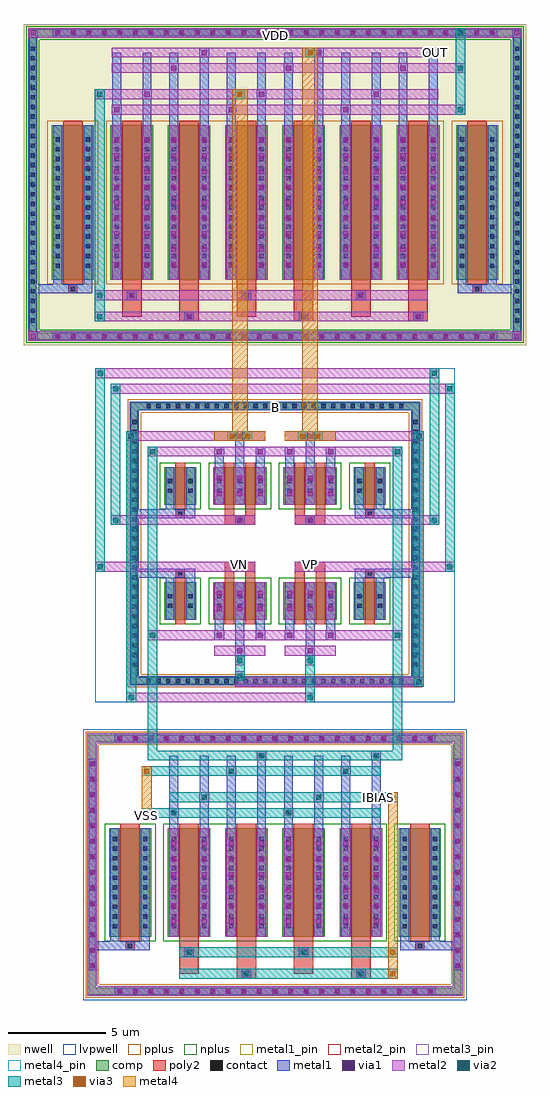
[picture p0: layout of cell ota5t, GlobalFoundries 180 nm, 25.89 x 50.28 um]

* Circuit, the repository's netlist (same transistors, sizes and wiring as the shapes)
* NGSPICE file created from ota5t.ext - technology: gf180mcuD

.subckt ota5t B VSS IBIAS VN VP VDD OUT
X0 a_n1575_3788# a_n1575_3788# VDD VDD pfet_03v3 ad=4.776p pd=17.12u as=4.776p ps=17.12u w=7.96u l=1u
X1 a_n1575_3788# VP a_n638_664# B nfet_03v3 ad=0.5404p pd=2.49u as=1.158p ps=5.06u w=1.93u l=0.5u
X2 OUT VN a_n638_664# B nfet_03v3 ad=0.5404p pd=2.49u as=1.158p ps=5.06u w=1.93u l=0.5u
X3 IBIAS IBIAS VSS B nfet_03v3 ad=3.348p pd=12.36u as=3.348p ps=12.36u w=5.58u l=1u
X4 OUT a_n1575_3788# VDD VDD pfet_03v3 ad=4.776p pd=17.12u as=4.776p ps=17.12u w=7.96u l=1u
X5 a_n1575_3788# VP a_n638_664# B nfet_03v3 ad=0.5404p pd=2.49u as=1.158p ps=5.06u w=1.93u l=0.5u
X6 a_n638_664# IBIAS VSS B nfet_03v3 ad=3.348p pd=12.36u as=3.348p ps=12.36u w=5.58u l=1u
X7 B B B B nfet_03v3 ad=1.1194p pd=5.02u as=21.9008p ps=89.44u w=1.93u l=0.5u
X8 a_n638_664# VN OUT B nfet_03v3 ad=1.158p pd=5.06u as=0.5404p ps=2.49u w=1.93u l=0.5u
X9 B B B B nfet_03v3 ad=1.1194p pd=5.02u as=0 ps=0 w=1.93u l=0.5u
X10 B B B B nfet_03v3 ad=1.1194p pd=5.02u as=0 ps=0 w=1.93u l=0.5u
X11 B B B B nfet_03v3 ad=3.2364p pd=12.32u as=0 ps=0 w=5.58u l=1u
X12 a_n638_664# VP a_n1575_3788# B nfet_03v3 ad=1.158p pd=5.06u as=0.5404p ps=2.49u w=1.93u l=0.5u
X13 a_n638_664# VP a_n1575_3788# B nfet_03v3 ad=1.158p pd=5.06u as=0.5404p ps=2.49u w=1.93u l=0.5u
X14 VDD VDD VDD VDD pfet_03v3 ad=4.6168p pd=17.08u as=47.1232p ps=0.17104m w=7.96u l=1u
X15 OUT VN a_n638_664# B nfet_03v3 ad=0.5404p pd=2.49u as=1.158p ps=5.06u w=1.93u l=0.5u
X16 a_n1575_3788# a_n1575_3788# VDD VDD pfet_03v3 ad=4.776p pd=17.12u as=4.776p ps=17.12u w=7.96u l=1u
X17 a_n638_664# VN OUT B nfet_03v3 ad=1.158p pd=5.06u as=0.5404p ps=2.49u w=1.93u l=0.5u
X18 VDD VDD VDD VDD pfet_03v3 ad=4.6168p pd=17.08u as=0 ps=0 w=7.96u l=1u
X19 OUT a_n1575_3788# VDD VDD pfet_03v3 ad=4.776p pd=17.12u as=4.776p ps=17.12u w=7.96u l=1u
X20 B B B B nfet_03v3 ad=3.2364p pd=12.32u as=0 ps=0 w=5.58u l=1u
X21 a_n638_664# IBIAS VSS B nfet_03v3 ad=3.348p pd=12.36u as=3.348p ps=12.36u w=5.58u l=1u
X22 OUT a_n1575_3788# VDD VDD pfet_03v3 ad=4.776p pd=17.12u as=4.776p ps=17.12u w=7.96u l=1u
X23 a_n1575_3788# a_n1575_3788# VDD VDD pfet_03v3 ad=4.776p pd=17.12u as=4.776p ps=17.12u w=7.96u l=1u
X24 IBIAS IBIAS VSS B nfet_03v3 ad=3.348p pd=12.36u as=3.348p ps=12.36u w=5.58u l=1u
X25 B B B B nfet_03v3 ad=1.1194p pd=5.02u as=0 ps=0 w=1.93u l=0.5u
.ends

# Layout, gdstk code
import gdstk
lib = gdstk.Library(unit=1e-6, precision=5e-09)
def R(c, l, rs):  # rectangles x0, y0, x1, y1
    for r in rs: c.add(gdstk.rectangle(r[:2], r[2:], *l))
def A(c, l, x, y, w, h, nx, ny, dx, dy):  # array of equal rectangles
    R(c, l, [(x+i*dx, y+j*dy, x+i*dx+w, y+j*dy+h) for i in range(nx) for j in range(ny)])
def P(c, l, *ps):  # polygons
    for p in ps: c.add(gdstk.Polygon(p, *l))
nwell = (21, 0)
comp = (22, 0)
poly2 = (30, 0)
pplus = (31, 0)
nplus = (32, 0)
contact = (33, 0)
metal1 = (34, 0)
metal1_pin = (34, 10)
via1 = (35, 0)
metal2 = (36, 0)
metal2_pin = (36, 10)
via2 = (38, 0)
via3 = (40, 0)
metal3 = (42, 0)
metal3_pin = (42, 10)
metal4 = (46, 0)
metal4_pin = (46, 10)
lvpwell = (204, 0)

ota5t = lib.new_cell('ota5t')
R(ota5t, nwell, [(-12.945,17.47,12.945,34.01), (-12.785,17.63,12.785,33.85), (-11.845,18.57,11.845,32.91)])
A(ota5t, comp, -8.18, -15.99, 0.36, 0.36, 21, 2, 0.8, 13.02)
A(ota5t, comp, -9.595, -14.68, 0.36, 0.36, 1, 14, 0, 0.8)
A(ota5t, comp, 9.235, -14.68, 0.36, 0.36, 1, 14, 0, 0.8)
A(ota5t, comp, -5.525, -13.01, 2.2, 5.58, 4, 1, 2.95, 0)
A(ota5t, comp, -6.68, -0.01, 0.36, 0.36, 27, 2, 0.5, 14.16)
A(ota5t, comp, -7.42, 0.82, 0.36, 0.36, 1, 26, 0, 0.5)
A(ota5t, comp, 7.06, 0.82, 0.36, 0.36, 1, 26, 0, 0.5)
A(ota5t, comp, -11.38, 17.75, 0.36, 0.36, 29, 2, 0.8, 15.62)
A(ota5t, comp, -12.665, 18.56, 0.36, 0.36, 1, 29, 0, 0.5)
A(ota5t, comp, 12.305, 18.56, 0.36, 0.36, 1, 29, 0, 0.5)
A(ota5t, comp, -8.475, 20.83, 2.2, 7.96, 6, 1, 2.95, 0)
R(ota5t, comp, [(-8.18,-15.99,8.18,-15.63), (-9.595,-14.68,-9.235,-3.92), (9.235,-14.68,9.595,-3.92), (-8.545,-13.01,-6.385,-7.43), (6.385,-13.01,8.545,-7.43), (-8.18,-2.97,8.18,-2.61), (-6.68,-0.01,6.68,0.35), (-7.42,0.82,-7.06,13.68), (7.06,0.82,7.42,13.68), (-5.71,3.32,-4.05,5.25), (-3.19,3.32,-0.43,5.25), (0.43,3.32,3.19,5.25), (4.05,3.32,5.71,5.25), (-5.71,9.25,-4.05,11.18), (-3.19,9.25,-0.43,11.18), (0.43,9.25,3.19,11.18), (4.05,9.25,5.71,11.18), (-6.68,14.15,6.68,14.51), (-11.38,17.75,11.38,18.11), (-12.665,18.56,-12.305,32.92), (12.305,18.56,12.665,32.92), (-11.495,20.83,-9.335,28.79), (9.335,20.83,11.495,28.79), (-11.38,33.37,11.38,33.73)])
P(ota5t, comp, [(7.42,14.51),(-7.42,14.51),(-7.42,0.35),(-7.06,0.35),(-7.06,14.15),(7.06,14.15),(7.06,0.35),(-7.06,0.35),(-7.42,0.35),(-7.42,-0.01),(7.42,-0.01)],
  [(9.595,-2.61),(-9.595,-2.61),(-9.595,-15.63),(-9.235,-15.63),(-9.235,-2.97),(9.235,-2.97),(9.235,-15.63),(-9.235,-15.63),(-9.595,-15.63),(-9.595,-15.99),(9.595,-15.99)],
  [(12.665,33.73),(-12.665,33.73),(-12.665,18.11),(-12.305,18.11),(-12.305,33.37),(12.305,33.37),(12.305,18.11),(-12.305,18.11),(-12.665,18.11),(-12.665,17.75),(12.665,17.75)])
A(ota5t, poly2, -4.925, -13.255, 1, 6.07, 4, 1, 2.95, 0)
A(ota5t, poly2, -4.925, 18.69, 1, 0.5, 3, 1, 5.9, 0)
A(ota5t, poly2, -4.605, 18.76, 0.36, 0.36, 3, 1, 5.9, 0)
A(ota5t, poly2, -7.875, 18.94, 1, 1.65, 3, 1, 5.9, 0)
A(ota5t, poly2, -4.925, 19.19, 1, 1.4, 3, 1, 5.9, 0)
A(ota5t, poly2, -7.875, 19.79, 1, 0.5, 3, 1, 5.9, 0)
A(ota5t, poly2, -7.555, 19.86, 0.36, 0.36, 3, 1, 5.9, 0)
A(ota5t, poly2, -7.875, 20.29, 1, 0.3, 3, 1, 5.9, 0)
A(ota5t, poly2, -7.875, 20.59, 1, 8.44, 6, 1, 2.95, 0)
R(ota5t, poly2, [(-1.975,-15.17,-0.975,-14.67), (3.925,-15.17,4.925,-14.67), (-1.655,-15.1,-1.295,-14.74), (4.245,-15.1,4.605,-14.74), (-4.925,-14.92,-3.925,-13.255), (0.975,-14.92,1.975,-13.255), (-1.975,-14.67,-0.975,-13.255), (3.925,-14.67,4.925,-13.255), (-4.925,-14.06,-3.925,-13.56), (0.975,-14.06,1.975,-13.56), (-4.605,-13.99,-4.245,-13.63), (1.295,-13.99,1.655,-13.63), (-7.695,-13.715,-7.235,-13.255), (7.235,-13.715,7.695,-13.255), (-7.645,-13.665,-7.285,-13.305), (7.285,-13.665,7.645,-13.305), (-4.925,-13.56,-3.925,-13.255), (0.975,-13.56,1.975,-13.255), (-7.965,-13.255,-6.965,-7.185), (6.965,-13.255,7.965,-7.185), (-5.13,3.08,-4.63,5.49), (-2.59,3.08,-2.09,5.49), (-1.53,3.08,-1.03,5.49), (1.03,3.08,1.53,5.49), (2.09,3.08,2.59,5.49), (4.63,3.08,5.13,5.49), (-5.11,5.49,-4.65,5.95), (-2.59,5.49,-2.09,5.795), (-1.53,5.49,-1.03,5.795), (1.03,5.49,1.53,5.795), (2.09,5.49,2.59,5.795), (4.65,5.49,5.11,5.95), (-5.06,5.54,-4.7,5.9), (4.7,5.54,5.06,5.9), (-2.59,5.795,-1.03,6.295), (1.03,5.795,2.59,6.295), (-1.99,5.865,-1.63,6.225), (1.63,5.865,1.99,6.225), (-2.59,8.205,-1.03,8.705), (1.03,8.205,2.59,8.705), (-1.99,8.275,-1.63,8.635), (1.63,8.275,1.99,8.635), (-5.11,8.55,-4.65,9.01), (4.65,8.55,5.11,9.01), (-5.06,8.6,-4.7,8.96), (4.7,8.6,5.06,8.96), (-2.59,8.705,-2.09,9.01), (-1.53,8.705,-1.03,9.01), (1.03,8.705,1.53,9.01), (2.09,8.705,2.59,9.01), (-5.13,9.01,-4.63,11.42), (-2.59,9.01,-2.09,11.42), (-1.53,9.01,-1.03,11.42), (1.03,9.01,1.53,11.42), (2.09,9.01,2.59,11.42), (4.63,9.01,5.13,11.42), (-10.645,20.13,-10.185,20.59), (10.185,20.13,10.645,20.59), (-10.595,20.18,-10.235,20.54), (10.235,20.18,10.595,20.54), (-10.915,20.59,-9.915,29.03), (9.915,20.59,10.915,29.03)])
A(ota5t, pplus, -8.705, 20.6, 2.66, 8.42, 6, 1, 2.95, 0)
R(ota5t, pplus, [(-11.725,20.6,-9.105,29.02), (-8.705,20.6,8.705,29.02), (9.105,20.6,11.725,29.02)])
P(ota5t, pplus, [(7.58,14.67),(-7.58,14.67),(-7.58,0.51),(-6.9,0.51),(-6.9,13.99),(6.9,13.99),(6.9,0.51),(-6.9,0.51),(-7.58,0.51),(-7.58,-0.17),(7.58,-0.17)],
  [(9.755,-2.45),(-9.755,-2.45),(-9.755,-15.47),(-9.075,-15.47),(-9.075,-3.13),(9.075,-3.13),(9.075,-15.47),(-9.075,-15.47),(-9.755,-15.47),(-9.755,-16.15),(9.755,-16.15)])
A(ota5t, nplus, -5.755, -13.24, 2.66, 6.04, 4, 1, 2.95, 0)
R(ota5t, nplus, [(-8.775,-13.24,-6.155,-7.2), (-5.755,-13.24,5.755,-7.2), (6.155,-13.24,8.775,-7.2), (-5.94,3.09,-3.82,5.48), (-3.42,3.09,-0.2,5.48), (0.2,3.09,3.42,5.48), (3.82,3.09,5.94,5.48), (-5.94,9.02,-3.82,11.41), (-3.42,9.02,-0.2,11.41), (0.2,9.02,3.42,11.41), (3.82,9.02,5.94,11.41)])
P(ota5t, nplus, [(12.825,33.89),(-12.825,33.89),(-12.825,18.27),(-12.145,18.27),(-12.145,33.21),(12.145,33.21),(12.145,18.27),(-12.145,18.27),(-12.825,18.27),(-12.825,17.59),(12.825,17.59)])
A(ota5t, contact, -8.11, -15.92, 0.22, 0.22, 21, 2, 0.8, 13.02)
A(ota5t, contact, -9.525, -14.61, 0.22, 0.22, 1, 14, 0, 0.8)
A(ota5t, contact, 9.305, -14.61, 0.22, 0.22, 1, 14, 0, 0.8)
A(ota5t, contact, -8.355, -12.58, 0.22, 0.22, 1, 10, 0, 0.5)
A(ota5t, contact, -6.795, -12.58, 0.22, 0.22, 1, 10, 0, 0.5)
A(ota5t, contact, -5.315, -12.58, 0.22, 0.22, 1, 10, 0, 0.5)
A(ota5t, contact, -3.755, -12.58, 0.22, 0.22, 1, 10, 0, 0.5)
A(ota5t, contact, -2.365, -12.58, 0.22, 0.22, 1, 10, 0, 0.5)
A(ota5t, contact, -0.805, -12.58, 0.22, 0.22, 1, 10, 0, 0.5)
A(ota5t, contact, 0.585, -12.58, 0.22, 0.22, 1, 10, 0, 0.5)
A(ota5t, contact, 2.145, -12.58, 0.22, 0.22, 1, 10, 0, 0.5)
A(ota5t, contact, 3.535, -12.58, 0.22, 0.22, 1, 10, 0, 0.5)
A(ota5t, contact, 5.095, -12.58, 0.22, 0.22, 1, 10, 0, 0.5)
A(ota5t, contact, 6.575, -12.58, 0.22, 0.22, 1, 10, 0, 0.5)
A(ota5t, contact, 8.135, -12.58, 0.22, 0.22, 1, 10, 0, 0.5)
A(ota5t, contact, -6.61, 0.06, 0.22, 0.22, 27, 2, 0.5, 14.16)
A(ota5t, contact, -7.35, 0.89, 0.22, 0.22, 1, 26, 0, 0.5)
A(ota5t, contact, 7.13, 0.89, 0.22, 0.22, 1, 26, 0, 0.5)
A(ota5t, contact, -2.98, 3.925, 0.22, 0.22, 3, 2, 1.06, 0.5)
A(ota5t, contact, 0.64, 3.925, 0.22, 0.22, 3, 2, 1.06, 0.5)
A(ota5t, contact, -2.98, 9.855, 0.22, 0.22, 3, 2, 1.06, 0.5)
A(ota5t, contact, 0.64, 9.855, 0.22, 0.22, 3, 2, 1.06, 0.5)
A(ota5t, contact, -11.31, 17.82, 0.22, 0.22, 29, 2, 0.8, 15.62)
A(ota5t, contact, -12.595, 18.63, 0.22, 0.22, 1, 29, 0, 0.5)
A(ota5t, contact, 12.375, 18.63, 0.22, 0.22, 1, 29, 0, 0.5)
A(ota5t, contact, -4.535, 18.83, 0.22, 0.22, 3, 1, 5.9, 0)
A(ota5t, contact, -7.485, 19.93, 0.22, 0.22, 3, 1, 5.9, 0)
A(ota5t, contact, -11.305, 21.45, 0.22, 0.22, 1, 14, 0, 0.5)
A(ota5t, contact, -9.745, 21.45, 0.22, 0.22, 1, 14, 0, 0.5)
A(ota5t, contact, -8.265, 21.45, 0.22, 0.22, 1, 14, 0, 0.5)
A(ota5t, contact, -6.705, 21.45, 0.22, 0.22, 1, 14, 0, 0.5)
A(ota5t, contact, -5.315, 21.45, 0.22, 0.22, 1, 14, 0, 0.5)
A(ota5t, contact, -3.755, 21.45, 0.22, 0.22, 1, 14, 0, 0.5)
A(ota5t, contact, -2.365, 21.45, 0.22, 0.22, 1, 14, 0, 0.5)
A(ota5t, contact, -0.805, 21.45, 0.22, 0.22, 1, 14, 0, 0.5)
A(ota5t, contact, 0.585, 21.45, 0.22, 0.22, 1, 14, 0, 0.5)
A(ota5t, contact, 2.145, 21.45, 0.22, 0.22, 1, 14, 0, 0.5)
A(ota5t, contact, 3.535, 21.45, 0.22, 0.22, 1, 14, 0, 0.5)
A(ota5t, contact, 5.095, 21.45, 0.22, 0.22, 1, 14, 0, 0.5)
A(ota5t, contact, 6.485, 21.45, 0.22, 0.22, 1, 14, 0, 0.5)
A(ota5t, contact, 8.045, 21.45, 0.22, 0.22, 1, 14, 0, 0.5)
A(ota5t, contact, 9.525, 21.45, 0.22, 0.22, 1, 14, 0, 0.5)
A(ota5t, contact, 11.085, 21.45, 0.22, 0.22, 1, 14, 0, 0.5)
R(ota5t, contact, [(-1.585,-15.03,-1.365,-14.81), (4.315,-15.03,4.535,-14.81), (-4.535,-13.92,-4.315,-13.7), (1.365,-13.92,1.585,-13.7), (-7.575,-13.595,-7.355,-13.375), (7.355,-13.595,7.575,-13.375), (-5.52,3.925,-5.3,4.145), (-4.46,3.925,-4.24,4.145), (4.24,3.925,4.46,4.145), (5.3,3.925,5.52,4.145), (-5.52,4.425,-5.3,4.645), (-4.46,4.425,-4.24,4.645), (4.24,4.425,4.46,4.645), (5.3,4.425,5.52,4.645), (-4.99,5.61,-4.77,5.83), (4.77,5.61,4.99,5.83), (-1.92,5.935,-1.7,6.155), (1.7,5.935,1.92,6.155), (-1.92,8.345,-1.7,8.565), (1.7,8.345,1.92,8.565), (-4.99,8.67,-4.77,8.89), (4.77,8.67,4.99,8.89), (-5.52,9.855,-5.3,10.075), (-4.46,9.855,-4.24,10.075), (4.24,9.855,4.46,10.075), (5.3,9.855,5.52,10.075), (-5.52,10.355,-5.3,10.575), (-4.46,10.355,-4.24,10.575), (4.24,10.355,4.46,10.575), (5.3,10.355,5.52,10.575), (-10.525,20.25,-10.305,20.47), (10.305,20.25,10.525,20.47)])
A(ota5t, metal1, -8.25, -16.06, 0.5, 0.5, 21, 2, 0.8, 13.02)
A(ota5t, metal1, -9.665, -14.75, 0.5, 0.5, 1, 14, 0, 0.8)
A(ota5t, metal1, 9.165, -14.75, 0.5, 0.5, 1, 14, 0, 0.8)
A(ota5t, metal1, -8.475, -12.7, 0.46, 0.46, 1, 10, 0, 0.5)
A(ota5t, metal1, -6.915, -12.7, 0.46, 0.46, 1, 10, 0, 0.5)
A(ota5t, metal1, -5.435, -12.7, 0.46, 0.46, 1, 10, 0, 0.5)
A(ota5t, metal1, -3.875, -12.7, 0.46, 0.46, 1, 10, 0, 0.5)
A(ota5t, metal1, -2.485, -12.7, 0.46, 0.46, 1, 10, 0, 0.5)
A(ota5t, metal1, -0.925, -12.7, 0.46, 0.46, 1, 10, 0, 0.5)
A(ota5t, metal1, 0.465, -12.7, 0.46, 0.46, 1, 10, 0, 0.5)
A(ota5t, metal1, 2.025, -12.7, 0.46, 0.46, 1, 10, 0, 0.5)
A(ota5t, metal1, 3.415, -12.7, 0.46, 0.46, 1, 10, 0, 0.5)
A(ota5t, metal1, 4.975, -12.7, 0.46, 0.46, 1, 10, 0, 0.5)
A(ota5t, metal1, 6.455, -12.7, 0.46, 0.46, 1, 10, 0, 0.5)
A(ota5t, metal1, 8.015, -12.7, 0.46, 0.46, 1, 10, 0, 0.5)
A(ota5t, metal1, -5.455, -12.47, 0.5, 0.5, 1, 6, 0, 0.8)
A(ota5t, metal1, -3.895, -12.47, 0.5, 0.5, 1, 6, 0, 0.8)
A(ota5t, metal1, -2.505, -12.47, 0.5, 0.5, 1, 6, 0, 0.8)
A(ota5t, metal1, -0.945, -12.47, 0.5, 0.5, 1, 6, 0, 0.8)
A(ota5t, metal1, 0.445, -12.47, 0.5, 0.5, 1, 6, 0, 0.8)
A(ota5t, metal1, 2.005, -12.47, 0.5, 0.5, 1, 6, 0, 0.8)
A(ota5t, metal1, 3.395, -12.47, 0.5, 0.5, 1, 6, 0, 0.8)
A(ota5t, metal1, 4.955, -12.47, 0.5, 0.5, 1, 6, 0, 0.8)
A(ota5t, metal1, -6.73, -0.06, 0.46, 0.46, 27, 2, 0.5, 14.16)
A(ota5t, metal1, -7.47, 0.77, 0.46, 0.46, 1, 26, 0, 0.5)
A(ota5t, metal1, 7.01, 0.77, 0.46, 0.46, 1, 26, 0, 0.5)
A(ota5t, metal1, -3.1, 3.32, 0.46, 1.93, 3, 2, 1.06, 5.93)
A(ota5t, metal1, 0.52, 3.32, 0.46, 1.93, 3, 2, 1.06, 5.93)
A(ota5t, metal1, -3.12, 3.635, 0.5, 0.5, 3, 2, 1.06, 0.8)
A(ota5t, metal1, -3.12, 3.635, 0.5, 1.3, 3, 2, 1.06, 5.93)
A(ota5t, metal1, 0.5, 3.635, 0.5, 0.5, 3, 2, 1.06, 0.8)
A(ota5t, metal1, 0.5, 3.635, 0.5, 1.3, 3, 2, 1.06, 5.93)
A(ota5t, metal1, -3.1, 3.805, 0.46, 0.46, 3, 2, 1.06, 0.5)
A(ota5t, metal1, 0.52, 3.805, 0.46, 0.46, 3, 2, 1.06, 0.5)
A(ota5t, metal1, -3.12, 9.565, 0.5, 0.5, 3, 2, 1.06, 0.8)
A(ota5t, metal1, 0.5, 9.565, 0.5, 0.5, 3, 2, 1.06, 0.8)
A(ota5t, metal1, -3.1, 9.735, 0.46, 0.46, 3, 2, 1.06, 0.5)
A(ota5t, metal1, 0.52, 9.735, 0.46, 0.46, 3, 2, 1.06, 0.5)
A(ota5t, metal1, -11.45, 17.68, 0.5, 0.5, 29, 2, 0.8, 15.62)
A(ota5t, metal1, -12.715, 18.51, 0.46, 0.46, 1, 29, 0, 0.5)
A(ota5t, metal1, 12.255, 18.51, 0.46, 0.46, 1, 29, 0, 0.5)
A(ota5t, metal1, -4.675, 18.69, 0.5, 0.5, 3, 1, 5.9, 0)
A(ota5t, metal1, -7.625, 19.79, 0.5, 0.5, 3, 1, 5.9, 0)
A(ota5t, metal1, -11.425, 21.33, 0.46, 0.46, 1, 14, 0, 0.5)
A(ota5t, metal1, -9.865, 21.33, 0.46, 0.46, 1, 14, 0, 0.5)
A(ota5t, metal1, -8.385, 21.33, 0.46, 0.46, 1, 14, 0, 0.5)
A(ota5t, metal1, -6.825, 21.33, 0.46, 0.46, 1, 14, 0, 0.5)
A(ota5t, metal1, -5.435, 21.33, 0.46, 0.46, 1, 14, 0, 0.5)
A(ota5t, metal1, -3.875, 21.33, 0.46, 0.46, 1, 14, 0, 0.5)
A(ota5t, metal1, -2.485, 21.33, 0.46, 0.46, 1, 14, 0, 0.5)
A(ota5t, metal1, -0.925, 21.33, 0.46, 0.46, 1, 14, 0, 0.5)
A(ota5t, metal1, 0.465, 21.33, 0.46, 0.46, 1, 14, 0, 0.5)
A(ota5t, metal1, 2.025, 21.33, 0.46, 0.46, 1, 14, 0, 0.5)
A(ota5t, metal1, 3.415, 21.33, 0.46, 0.46, 1, 14, 0, 0.5)
A(ota5t, metal1, 4.975, 21.33, 0.46, 0.46, 1, 14, 0, 0.5)
A(ota5t, metal1, 6.365, 21.33, 0.46, 0.46, 1, 14, 0, 0.5)
A(ota5t, metal1, 7.925, 21.33, 0.46, 0.46, 1, 14, 0, 0.5)
A(ota5t, metal1, 9.405, 21.33, 0.46, 0.46, 1, 14, 0, 0.5)
A(ota5t, metal1, 10.965, 21.33, 0.46, 0.46, 1, 14, 0, 0.5)
A(ota5t, metal1, -8.405, 21.36, 0.5, 0.5, 1, 9, 0, 0.8)
A(ota5t, metal1, -6.845, 21.36, 0.5, 0.5, 1, 9, 0, 0.8)
A(ota5t, metal1, -5.455, 21.36, 0.5, 0.5, 1, 9, 0, 0.8)
A(ota5t, metal1, -3.895, 21.36, 0.5, 0.5, 1, 9, 0, 0.8)
A(ota5t, metal1, -2.505, 21.36, 0.5, 0.5, 1, 9, 0, 0.8)
A(ota5t, metal1, -0.945, 21.36, 0.5, 0.5, 1, 9, 0, 0.8)
A(ota5t, metal1, 0.445, 21.36, 0.5, 0.5, 1, 9, 0, 0.8)
A(ota5t, metal1, 2.005, 21.36, 0.5, 0.5, 1, 9, 0, 0.8)
A(ota5t, metal1, 3.395, 21.36, 0.5, 0.5, 1, 9, 0, 0.8)
A(ota5t, metal1, 4.955, 21.36, 0.5, 0.5, 1, 9, 0, 0.8)
A(ota5t, metal1, 6.345, 21.36, 0.5, 0.5, 1, 9, 0, 0.8)
A(ota5t, metal1, 7.905, 21.36, 0.5, 0.5, 1, 9, 0, 0.8)
A(ota5t, metal1, -8.385, 28.79, 0.46, 1.05, 3, 1, 5.9, 0)
A(ota5t, metal1, -6.825, 28.79, 0.46, 1.85, 3, 1, 5.9, 0)
A(ota5t, metal1, -5.435, 28.79, 0.46, 3.2, 3, 1, 5.9, 0)
A(ota5t, metal1, -3.875, 28.79, 0.46, 4, 3, 1, 5.9, 0)
A(ota5t, metal1, -8.405, 29.34, 0.5, 0.5, 3, 1, 5.9, 0)
A(ota5t, metal1, -6.845, 30.14, 0.5, 0.5, 3, 1, 5.9, 0)
A(ota5t, metal1, -5.455, 31.49, 0.5, 0.5, 3, 1, 5.9, 0)
A(ota5t, metal1, -3.895, 32.29, 0.5, 0.5, 3, 1, 5.9, 0)
R(ota5t, metal1, [(-8.25,-16.06,8.25,-15.56), (-1.725,-15.17,-1.225,-14.67), (4.175,-15.17,4.675,-14.67), (-9.665,-14.75,-9.165,-3.85), (9.165,-14.75,9.665,-3.85), (-4.675,-14.06,-4.175,-13.56), (1.225,-14.06,1.725,-13.56), (-9.665,-13.715,-7.695,-13.255), (-8.475,-13.715,-7.695,-13.255), (-8.475,-13.715,-8.015,-13.01), (-7.695,-13.715,-7.235,-13.255), (-7.235,-13.715,-6.455,-13.255), (-6.915,-13.715,-6.455,-13.01), (6.455,-13.715,7.235,-13.255), (6.455,-13.715,6.915,-13.01), (7.235,-13.715,7.695,-13.255), (7.695,-13.715,8.475,-13.255), (7.695,-13.715,9.665,-13.255), (8.015,-13.715,8.475,-13.01), (-8.475,-13.01,-8.015,-7.43), (-6.915,-13.01,-6.455,-7.43), (-5.435,-13.01,-4.975,-7.43), (-3.875,-13.01,-3.415,-7.43), (-2.485,-13.01,-2.025,-7.43), (-0.925,-13.01,-0.465,-7.43), (0.465,-13.01,0.925,-7.43), (2.025,-13.01,2.485,-7.43), (3.415,-13.01,3.875,-7.43), (4.975,-13.01,5.435,-7.43), (6.455,-13.01,6.915,-7.43), (8.015,-13.01,8.475,-7.43), (-5.455,-12.47,-4.955,-7.97), (-3.895,-12.47,-3.395,-7.97), (-2.505,-12.47,-2.005,-7.97), (-0.945,-12.47,-0.445,-7.97), (0.445,-12.47,0.945,-7.97), (2.005,-12.47,2.505,-7.97), (3.395,-12.47,3.895,-7.97), (4.955,-12.47,5.455,-7.97), (-5.435,-7.43,-4.975,-6.38), (-5.435,-7.43,-4.975,-3.68), (-3.875,-7.43,-3.415,-5.58), (-3.875,-7.43,-3.415,-3.68), (-2.485,-7.43,-2.025,-4.23), (-2.485,-7.43,-2.025,-3.68), (-0.925,-7.43,-0.465,-3.43), (-0.925,-7.43,-0.465,-3.68), (0.465,-7.43,0.925,-6.38), (0.465,-7.43,0.925,-3.68), (2.025,-7.43,2.485,-5.58), (2.025,-7.43,2.485,-3.68), (3.415,-7.43,3.875,-4.23), (3.415,-7.43,3.875,-3.68), (4.975,-7.43,5.435,-3.43), (4.975,-7.43,5.435,-3.68), (-5.455,-6.88,-4.955,-6.38), (0.445,-6.88,0.945,-6.38), (-3.895,-6.08,-3.395,-5.58), (2.005,-6.08,2.505,-5.58), (-2.505,-4.73,-2.005,-4.23), (3.395,-4.73,3.895,-4.23), (-0.945,-3.93,-0.445,-3.43), (4.955,-3.93,5.455,-3.43), (-8.25,-3.04,8.25,-2.54), (-7.47,-0.06,-7.06,0.4), (-7.47,-0.06,-7.01,0.35), (-7.06,-0.06,7.06,0.4), (7.01,-0.06,7.47,0.35), (7.06,-0.06,7.47,0.4), (-7.47,0.35,-7.01,14.15), (7.01,0.35,7.47,14.15), (-2.06,1.47,-1.56,1.97), (-2.04,1.47,-1.58,3.32), (1.56,1.47,2.06,1.97), (1.58,1.47,2.04,3.32), (-3.12,2.27,-2.62,2.77), (-3.1,2.27,-2.64,3.32), (-1,2.27,-0.5,2.77), (-0.98,2.27,-0.52,3.32), (0.5,2.27,1,2.77), (0.52,2.27,0.98,3.32), (2.62,2.27,3.12,2.77), (2.64,2.27,3.1,3.32), (-5.64,3.32,-5.18,5.25), (-4.58,3.32,-4.12,5.25), (4.12,3.32,4.58,5.25), (5.18,3.32,5.64,5.25), (-5.64,3.805,-5.18,4.265), (-4.58,3.805,-4.12,4.265), (4.12,3.805,4.58,4.265), (5.18,3.805,5.64,4.265), (-5.64,4.305,-5.18,4.765), (-4.58,4.305,-4.12,4.765), (4.12,4.305,4.58,4.765), (5.18,4.305,5.64,4.765), (-5.64,5.25,-5.18,5.95), (-4.58,5.25,-4.12,5.95), (4.12,5.25,4.58,5.95), (5.18,5.25,5.64,5.95), (-7.47,5.49,-5.11,5.95), (-5.64,5.49,-5.11,5.95), (-5.11,5.49,-4.65,5.95), (-4.65,5.49,-4.12,5.95), (4.12,5.49,4.65,5.95), (4.65,5.49,5.11,5.95), (4.65,5.49,7.47,5.95), (5.11,5.49,5.64,5.95), (-2.06,5.795,-1.56,6.295), (1.56,5.795,2.06,6.295), (-2.06,8.205,-1.56,8.705), (1.56,8.205,2.06,8.705), (-7.47,8.55,-5.11,9.01), (-5.64,8.55,-5.11,9.01), (-5.64,8.55,-5.18,9.25), (-5.11,8.55,-4.65,9.01), (-4.65,8.55,-4.12,9.01), (-4.58,8.55,-4.12,9.25), (4.12,8.55,4.65,9.01), (4.12,8.55,4.58,9.25), (4.65,8.55,5.11,9.01), (4.65,8.55,7.47,9.01), (5.11,8.55,5.64,9.01), (5.18,8.55,5.64,9.25), (-5.64,9.25,-5.18,11.18), (-4.58,9.25,-4.12,11.18), (4.12,9.25,4.58,11.18), (5.18,9.25,5.64,11.18), (-5.64,9.735,-5.18,10.195), (-4.58,9.735,-4.12,10.195), (4.12,9.735,4.58,10.195), (5.18,9.735,5.64,10.195), (-5.64,10.235,-5.18,10.695), (-4.58,10.235,-4.12,10.695), (4.12,10.235,4.58,10.695), (5.18,10.235,5.64,10.695), (-3.1,11.18,-2.64,12.23), (-2.04,11.18,-1.58,13.03), (-0.98,11.18,-0.52,12.23), (0.52,11.18,0.98,12.23), (1.58,11.18,2.04,13.03), (2.64,11.18,3.1,12.23), (-3.12,11.73,-2.62,12.23), (-1,11.73,-0.5,12.23), (0.5,11.73,1,12.23), (2.62,11.73,3.12,12.23), (-2.06,12.53,-1.56,13.03), (1.56,12.53,2.06,13.03), (-7.47,14.1,-7.06,14.56), (-7.06,14.1,7.06,14.56), (7.06,14.1,7.47,14.56), (-7.47,14.15,-7.01,14.56), (7.01,14.15,7.47,14.56), (-12.715,17.68,-12.215,18.18), (-12.715,17.68,-12.215,18.18), (-12.715,17.68,-12.255,18.11), (-11.45,17.68,11.45,18.18), (12.215,17.68,12.715,18.18), (12.215,17.68,12.715,18.18), (12.255,17.68,12.715,18.11), (-12.715,18.11,-12.255,33.37), (12.255,18.11,12.715,33.37), (-12.715,20.13,-10.645,20.59), (-11.425,20.13,-10.965,20.83), (-11.425,20.13,-10.645,20.59), (-10.645,20.13,-10.185,20.59), (-10.185,20.13,-9.405,20.59), (-9.865,20.13,-9.405,20.83), (9.405,20.13,9.865,20.83), (9.405,20.13,10.185,20.59), (10.185,20.13,10.645,20.59), (10.645,20.13,11.425,20.59), (10.645,20.13,12.715,20.59), (10.965,20.13,11.425,20.83), (-11.425,20.83,-10.965,28.79), (-9.865,20.83,-9.405,28.79), (-8.385,20.83,-7.925,28.79), (-6.825,20.83,-6.365,28.79), (-5.435,20.83,-4.975,28.79), (-3.875,20.83,-3.415,28.79), (-2.485,20.83,-2.025,28.79), (-0.925,20.83,-0.465,28.79), (0.465,20.83,0.925,28.79), (2.025,20.83,2.485,28.79), (3.415,20.83,3.875,28.79), (4.975,20.83,5.435,28.79), (6.365,20.83,6.825,28.79), (7.925,20.83,8.385,28.79), (9.405,20.83,9.865,28.79), (10.965,20.83,11.425,28.79), (-8.405,21.36,-7.905,28.26), (-6.845,21.36,-6.345,28.26), (-5.455,21.36,-4.955,28.26), (-3.895,21.36,-3.395,28.26), (-2.505,21.36,-2.005,28.26), (-0.945,21.36,-0.445,28.26), (0.445,21.36,0.945,28.26), (2.005,21.36,2.505,28.26), (3.395,21.36,3.895,28.26), (4.955,21.36,5.455,28.26), (6.345,21.36,6.845,28.26), (7.905,21.36,8.405,28.26), (-8.385,28.79,-7.925,32.54), (-6.825,28.79,-6.365,32.54), (-5.435,28.79,-4.975,32.54), (-3.875,28.79,-3.415,32.54), (-2.485,28.79,-2.025,32.54), (-0.925,28.79,-0.465,32.54), (0.465,28.79,0.925,32.54), (2.025,28.79,2.485,32.54), (3.415,28.79,3.875,32.54), (4.975,28.79,5.435,32.54), (6.365,28.79,6.825,32.54), (7.925,28.79,8.385,32.54), (-12.715,33.3,-12.215,33.8), (-12.715,33.3,-12.215,33.8), (-11.45,33.3,11.45,33.8), (12.215,33.3,12.715,33.8), (12.215,33.3,12.715,33.8), (-12.715,33.37,-12.255,33.8), (12.255,33.37,12.715,33.8)])
R(ota5t, metal1_pin, [(-0.135,14.1,0.135,14.37), (-0.135,14.1,0.135,14.37)])
A(ota5t, via1, -8.13, -15.94, 0.26, 0.26, 21, 2, 0.8, 13.02)
A(ota5t, via1, -9.545, -14.63, 0.26, 0.26, 1, 14, 0, 0.8)
A(ota5t, via1, 9.285, -14.63, 0.26, 0.26, 1, 14, 0, 0.8)
A(ota5t, via1, -5.335, -12.35, 0.26, 0.26, 1, 6, 0, 0.8)
A(ota5t, via1, -3.775, -12.35, 0.26, 0.26, 1, 6, 0, 0.8)
A(ota5t, via1, -2.385, -12.35, 0.26, 0.26, 1, 6, 0, 0.8)
A(ota5t, via1, -0.825, -12.35, 0.26, 0.26, 1, 6, 0, 0.8)
A(ota5t, via1, 0.565, -12.35, 0.26, 0.26, 1, 6, 0, 0.8)
A(ota5t, via1, 2.125, -12.35, 0.26, 0.26, 1, 6, 0, 0.8)
A(ota5t, via1, 3.515, -12.35, 0.26, 0.26, 1, 6, 0, 0.8)
A(ota5t, via1, 5.075, -12.35, 0.26, 0.26, 1, 6, 0, 0.8)
A(ota5t, via1, -3, 3.755, 0.26, 0.26, 3, 2, 1.06, 0.8)
A(ota5t, via1, 0.62, 3.755, 0.26, 0.26, 3, 2, 1.06, 0.8)
A(ota5t, via1, -3, 9.685, 0.26, 0.26, 3, 2, 1.06, 0.8)
A(ota5t, via1, 0.62, 9.685, 0.26, 0.26, 3, 2, 1.06, 0.8)
A(ota5t, via1, -11.33, 17.8, 0.26, 0.26, 29, 2, 0.8, 15.62)
A(ota5t, via1, -4.555, 18.81, 0.26, 0.26, 3, 1, 5.9, 0)
A(ota5t, via1, -7.505, 19.91, 0.26, 0.26, 3, 1, 5.9, 0)
A(ota5t, via1, -8.285, 21.48, 0.26, 0.26, 1, 9, 0, 0.8)
A(ota5t, via1, -6.725, 21.48, 0.26, 0.26, 1, 9, 0, 0.8)
A(ota5t, via1, -5.335, 21.48, 0.26, 0.26, 1, 9, 0, 0.8)
A(ota5t, via1, -3.775, 21.48, 0.26, 0.26, 1, 9, 0, 0.8)
A(ota5t, via1, -2.385, 21.48, 0.26, 0.26, 1, 9, 0, 0.8)
A(ota5t, via1, -0.825, 21.48, 0.26, 0.26, 1, 9, 0, 0.8)
A(ota5t, via1, 0.565, 21.48, 0.26, 0.26, 1, 9, 0, 0.8)
A(ota5t, via1, 2.125, 21.48, 0.26, 0.26, 1, 9, 0, 0.8)
A(ota5t, via1, 3.515, 21.48, 0.26, 0.26, 1, 9, 0, 0.8)
A(ota5t, via1, 5.075, 21.48, 0.26, 0.26, 1, 9, 0, 0.8)
A(ota5t, via1, 6.465, 21.48, 0.26, 0.26, 1, 9, 0, 0.8)
A(ota5t, via1, 8.025, 21.48, 0.26, 0.26, 1, 9, 0, 0.8)
A(ota5t, via1, -8.285, 29.46, 0.26, 0.26, 3, 1, 5.9, 0)
A(ota5t, via1, -6.725, 30.26, 0.26, 0.26, 3, 1, 5.9, 0)
A(ota5t, via1, -5.335, 31.61, 0.26, 0.26, 3, 1, 5.9, 0)
A(ota5t, via1, -3.775, 32.41, 0.26, 0.26, 3, 1, 5.9, 0)
R(ota5t, via1, [(-1.605,-15.05,-1.345,-14.79), (4.295,-15.05,4.555,-14.79), (-4.555,-13.94,-4.295,-13.68), (1.345,-13.94,1.605,-13.68), (-5.335,-6.76,-5.075,-6.5), (0.565,-6.76,0.825,-6.5), (-3.775,-5.96,-3.515,-5.7), (2.125,-5.96,2.385,-5.7), (-2.385,-4.61,-2.125,-4.35), (3.515,-4.61,3.775,-4.35), (-0.825,-3.81,-0.565,-3.55), (5.075,-3.81,5.335,-3.55), (-1.94,1.59,-1.68,1.85), (1.68,1.59,1.94,1.85), (-3,2.39,-2.74,2.65), (-0.88,2.39,-0.62,2.65), (0.62,2.39,0.88,2.65), (2.74,2.39,3,2.65), (-1.94,5.915,-1.68,6.175), (1.68,5.915,1.94,6.175), (-1.94,8.325,-1.68,8.585), (1.68,8.325,1.94,8.585), (-3,11.85,-2.74,12.11), (-0.88,11.85,-0.62,12.11), (0.62,11.85,0.88,12.11), (2.74,11.85,3,12.11), (-1.94,12.65,-1.68,12.91), (1.68,12.65,1.94,12.91), (-12.595,17.8,-12.335,18.06), (12.335,17.8,12.595,18.06), (-12.595,33.42,-12.335,33.68), (12.335,33.42,12.595,33.68)])
A(ota5t, metal2, -8.25, -16.06, 0.5, 0.5, 21, 2, 0.8, 13.02)
A(ota5t, metal2, -9.665, -14.75, 0.5, 0.5, 1, 14, 0, 0.8)
A(ota5t, metal2, 9.165, -14.75, 0.5, 0.5, 1, 14, 0, 0.8)
A(ota5t, metal2, -5.455, -12.47, 0.5, 0.5, 1, 6, 0, 0.8)
A(ota5t, metal2, -3.895, -12.47, 0.5, 0.5, 1, 6, 0, 0.8)
A(ota5t, metal2, -2.505, -12.47, 0.5, 0.5, 1, 6, 0, 0.8)
A(ota5t, metal2, -0.945, -12.47, 0.5, 0.5, 1, 6, 0, 0.8)
A(ota5t, metal2, 0.445, -12.47, 0.5, 0.5, 1, 6, 0, 0.8)
A(ota5t, metal2, 2.005, -12.47, 0.5, 0.5, 1, 6, 0, 0.8)
A(ota5t, metal2, 3.395, -12.47, 0.5, 0.5, 1, 6, 0, 0.8)
A(ota5t, metal2, 4.955, -12.47, 0.5, 0.5, 1, 6, 0, 0.8)
A(ota5t, metal2, -3.12, 3.32, 0.5, 1.93, 3, 2, 1.06, 5.93)
A(ota5t, metal2, 0.5, 3.32, 0.5, 1.93, 3, 2, 1.06, 5.93)
A(ota5t, metal2, -3.12, 3.635, 0.5, 0.5, 3, 2, 1.06, 0.8)
A(ota5t, metal2, 0.5, 3.635, 0.5, 0.5, 3, 2, 1.06, 0.8)
A(ota5t, metal2, -3.12, 9.565, 0.5, 0.5, 3, 2, 1.06, 0.8)
A(ota5t, metal2, 0.5, 9.565, 0.5, 0.5, 3, 2, 1.06, 0.8)
A(ota5t, metal2, -11.45, 17.68, 0.5, 0.5, 29, 1, 0.8, 0)
A(ota5t, metal2, -4.925, 18.69, 1, 0.5, 3, 1, 5.9, 0)
A(ota5t, metal2, -4.675, 18.69, 0.5, 0.5, 3, 1, 5.9, 0)
A(ota5t, metal2, -7.875, 19.79, 1, 0.5, 3, 1, 5.9, 0)
A(ota5t, metal2, -7.625, 19.79, 0.5, 0.5, 3, 1, 5.9, 0)
A(ota5t, metal2, -8.405, 21.36, 0.5, 0.5, 1, 9, 0, 0.8)
A(ota5t, metal2, -6.845, 21.36, 0.5, 0.5, 1, 9, 0, 0.8)
A(ota5t, metal2, -5.455, 21.36, 0.5, 0.5, 1, 9, 0, 0.8)
A(ota5t, metal2, -3.895, 21.36, 0.5, 0.5, 1, 9, 0, 0.8)
A(ota5t, metal2, -2.505, 21.36, 0.5, 0.5, 1, 9, 0, 0.8)
A(ota5t, metal2, -0.945, 21.36, 0.5, 0.5, 1, 9, 0, 0.8)
A(ota5t, metal2, 0.445, 21.36, 0.5, 0.5, 1, 9, 0, 0.8)
A(ota5t, metal2, 2.005, 21.36, 0.5, 0.5, 1, 9, 0, 0.8)
A(ota5t, metal2, 3.395, 21.36, 0.5, 0.5, 1, 9, 0, 0.8)
A(ota5t, metal2, 4.955, 21.36, 0.5, 0.5, 1, 9, 0, 0.8)
A(ota5t, metal2, 6.345, 21.36, 0.5, 0.5, 1, 9, 0, 0.8)
A(ota5t, metal2, 7.905, 21.36, 0.5, 0.5, 1, 9, 0, 0.8)
A(ota5t, metal2, -8.405, 29.34, 0.5, 0.5, 3, 1, 5.9, 0)
A(ota5t, metal2, -8.405, 29.34, 2.06, 0.5, 3, 2, 5.9, 0.8)
A(ota5t, metal2, -6.845, 30.14, 0.5, 0.5, 3, 1, 5.9, 0)
A(ota5t, metal2, -5.455, 31.49, 0.5, 0.5, 3, 1, 5.9, 0)
A(ota5t, metal2, -5.455, 31.49, 2.06, 0.5, 3, 2, 5.9, 0.8)
A(ota5t, metal2, -3.895, 32.29, 0.5, 0.5, 3, 1, 5.9, 0)
A(ota5t, metal2, -11.45, 33.3, 0.5, 0.5, 26, 1, 0.8, 0)
A(ota5t, metal2, 9.35, 33.3, 0.5, 0.5, 3, 1, 0.8, 0)
R(ota5t, metal2, [(-9.665,-16.06,-9.235,-15.56), (-9.665,-16.06,-9.165,-15.63), (-9.235,-16.06,9.235,-15.56), (9.165,-16.06,9.665,-15.63), (9.235,-16.06,9.665,-15.56), (-9.665,-15.63,-9.165,-2.97), (9.165,-15.63,9.665,-2.97), (-1.725,-15.17,-1.225,-14.67), (4.175,-15.17,4.675,-14.67), (-4.675,-14.06,-4.175,-13.56), (1.225,-14.06,1.725,-13.56), (-5.455,-13.01,-4.955,-7.43), (-3.895,-13.01,-3.395,-7.43), (-2.505,-13.01,-2.005,-7.43), (-0.945,-13.01,-0.445,-7.43), (0.445,-13.01,0.945,-7.43), (2.005,-13.01,2.505,-7.43), (3.395,-13.01,3.895,-7.43), (4.955,-13.01,5.455,-7.43), (-5.455,-6.88,-4.955,-6.38), (0.445,-6.88,0.945,-6.38), (-3.895,-6.08,-3.395,-5.58), (2.005,-6.08,2.505,-5.58), (-2.505,-4.73,-2.005,-4.23), (3.395,-4.73,3.895,-4.23), (-0.945,-3.93,-0.445,-3.43), (4.955,-3.93,5.455,-3.43), (-9.665,-3.04,-9.235,-2.54), (-9.235,-3.04,9.235,-2.54), (9.235,-3.04,9.665,-2.54), (-9.665,-2.97,-9.165,-2.54), (9.165,-2.97,9.665,-2.54), (-7.66,-0.93,-7.16,-0.43), (-7.66,-0.93,2.06,-0.43), (1.56,-0.93,2.06,-0.43), (-2.06,-0.13,7.66,0.37), (7.16,-0.13,7.66,0.37), (-2.06,0.17,-1.56,0.67), (-2.06,0.97,-1.56,1.47), (1.56,0.97,2.06,1.47), (-3.12,1.47,-0.5,1.97), (-2.06,1.47,-1.56,1.97), (0.5,1.47,3.12,1.97), (1.56,1.47,2.06,1.97), (-6.56,2.27,-6.06,2.77), (-6.56,2.27,-3.12,2.77), (-3.12,2.27,-2.62,2.77), (-3.12,2.27,-0.5,2.77), (-1,2.27,-0.5,2.77), (-0.5,2.27,0.5,2.77), (0.5,2.27,1,2.77), (0.5,2.27,3.12,2.77), (2.62,2.27,3.12,2.77), (3.12,2.27,6.56,2.77), (6.06,2.27,6.56,2.77), (-9.26,5.795,-8.76,6.295), (-9.26,5.795,-1.03,6.295), (-2.59,5.795,-1.03,6.295), (-2.06,5.795,-1.56,6.295), (1.03,5.795,2.59,6.295), (1.03,5.795,9.26,6.295), (1.56,5.795,2.06,6.295), (8.76,5.795,9.26,6.295), (-8.46,8.205,-7.96,8.705), (-8.46,8.205,-2.59,8.705), (-2.59,8.205,-1.03,8.705), (-2.06,8.205,-1.56,8.705), (1.03,8.205,2.59,8.705), (1.56,8.205,2.06,8.705), (2.59,8.205,8.46,8.705), (7.96,8.205,8.46,8.705), (-6.56,11.73,-6.06,12.23), (-6.56,11.73,-3.12,12.23), (-3.12,11.73,-2.62,12.23), (-3.12,11.73,-0.5,12.23), (-1,11.73,-0.5,12.23), (-0.5,11.73,0.5,12.23), (0.5,11.73,1,12.23), (0.5,11.73,3.12,12.23), (2.62,11.73,3.12,12.23), (3.12,11.73,6.56,12.23), (6.06,11.73,6.56,12.23), (-7.66,12.53,-7.16,13.03), (-7.66,12.53,-3.12,13.03), (-3.12,12.53,-0.5,13.03), (-2.06,12.53,-1.56,13.03), (0.5,12.53,3.12,13.03), (1.56,12.53,2.06,13.03), (3.12,12.53,7.66,13.03), (7.16,12.53,7.66,13.03), (-8.46,14.97,-7.96,15.47), (-8.46,14.97,-6.06,15.47), (-6.06,14.97,6.06,15.47), (6.06,14.97,9.26,15.47), (8.76,14.97,9.26,15.47), (-9.26,15.77,-8.76,16.27), (-9.26,15.77,-6.06,16.27), (-6.06,15.77,6.06,16.27), (6.06,15.77,8.46,16.27), (7.96,15.77,8.46,16.27), (-12.715,17.68,-12.215,18.18), (-12.715,17.68,-12.215,18.18), (-12.715,17.68,-12.305,18.18), (-12.305,17.68,12.305,18.18), (12.215,17.68,12.715,18.18), (12.215,17.68,12.715,18.18), (12.305,17.68,12.715,18.18), (-9.275,18.69,-8.775,19.19), (-9.275,18.69,-7.875,19.19), (-7.875,18.69,7.875,19.19), (-9.275,19.79,-8.775,20.29), (-9.275,19.79,-7.875,20.29), (-7.875,19.79,7.875,20.29), (-8.405,20.83,-7.905,28.79), (-6.845,20.83,-6.345,28.79), (-5.455,20.83,-4.955,28.79), (-3.895,20.83,-3.395,28.79), (-2.505,20.83,-2.005,28.79), (-0.945,20.83,-0.445,28.79), (0.445,20.83,0.945,28.79), (2.005,20.83,2.505,28.79), (3.395,20.83,3.895,28.79), (4.955,20.83,5.455,28.79), (6.345,20.83,6.845,28.79), (7.905,20.83,8.405,28.79), (-8.405,29.34,8.405,29.84), (8.405,29.34,9.805,29.84), (9.305,29.34,9.805,29.84), (-9.275,30.14,-8.775,30.64), (-9.275,30.14,-8.775,30.64), (-9.275,30.14,-8.405,30.64), (-8.405,30.14,8.405,30.64), (-8.405,31.49,8.405,31.99), (8.405,31.49,9.805,31.99), (9.305,31.49,9.805,31.99), (-8.405,32.29,8.405,32.79), (-12.715,33.3,-12.215,33.8), (-12.715,33.3,-12.215,33.8), (-12.715,33.3,-12.305,33.8), (-12.305,33.3,12.305,33.8), (9.305,33.3,9.805,33.8), (12.215,33.3,12.715,33.8), (12.215,33.3,12.715,33.8), (12.305,33.3,12.715,33.8)])
R(ota5t, metal2_pin, [(-1.945,6.025,-1.675,6.295), (-1.945,6.025,-1.675,6.295), (1.675,6.025,1.945,6.295), (1.675,6.025,1.945,6.295), (-1.945,12.76,-1.675,13.03), (1.675,12.76,1.945,13.03), (8.135,32.405,8.405,32.675), (-0.135,33.3,0.135,33.57)])
R(ota5t, via2, [(-1.605,-15.05,-1.345,-14.79), (4.295,-15.05,4.555,-14.79), (-4.555,-13.94,-4.295,-13.68), (1.345,-13.94,1.605,-13.68), (-5.335,-6.76,-5.075,-6.5), (0.565,-6.76,0.825,-6.5), (-3.775,-5.96,-3.515,-5.7), (2.125,-5.96,2.385,-5.7), (-2.385,-4.61,-2.125,-4.35), (3.515,-4.61,3.775,-4.35), (-0.825,-3.81,-0.565,-3.55), (5.075,-3.81,5.335,-3.55), (-7.54,-0.81,-7.28,-0.55), (1.68,-0.81,1.94,-0.55), (7.28,-0.01,7.54,0.25), (-1.94,0.29,-1.68,0.55), (-1.94,1.09,-1.68,1.35), (1.68,1.09,1.94,1.35), (-6.44,2.39,-6.18,2.65), (6.18,2.39,6.44,2.65), (-9.14,5.915,-8.88,6.175), (8.88,5.915,9.14,6.175), (-8.34,8.325,-8.08,8.585), (8.08,8.325,8.34,8.585), (-6.44,11.85,-6.18,12.11), (6.18,11.85,6.44,12.11), (-7.54,12.65,-7.28,12.91), (-2.34,12.65,-2.08,12.91), (-1.54,12.65,-1.28,12.91), (1.28,12.65,1.54,12.91), (2.08,12.65,2.34,12.91), (7.28,12.65,7.54,12.91), (-8.34,15.09,-8.08,15.35), (8.88,15.09,9.14,15.35), (-9.14,15.89,-8.88,16.15), (8.08,15.89,8.34,16.15), (-9.155,18.81,-8.895,19.07), (-9.155,19.91,-8.895,20.17), (9.425,29.46,9.685,29.72), (-9.155,30.26,-8.895,30.52), (-1.94,30.26,-1.68,30.52), (9.425,31.61,9.685,31.87), (1.68,32.41,1.94,32.67), (9.425,33.42,9.685,33.68)])
R(ota5t, via3, [(5.945,-15.05,6.205,-14.79), (5.945,-13.94,6.205,-13.68), (-6.735,-6.76,-6.475,-6.5), (5.945,-5.96,6.205,-5.7), (-6.735,-4.61,-6.475,-4.35), (-2.34,12.65,-2.08,12.91), (-1.54,12.65,-1.28,12.91), (1.28,12.65,1.54,12.91), (2.08,12.65,2.34,12.91), (-1.94,30.26,-1.68,30.52), (1.68,32.41,1.94,32.67)])
R(ota5t, metal3, [(-4.925,-15.17,4.925,-14.67), (-1.975,-15.17,-0.975,-14.67), (-1.725,-15.17,-1.225,-14.67), (3.925,-15.17,4.925,-14.67), (4.175,-15.17,4.675,-14.67), (4.925,-15.17,6.325,-14.67), (5.825,-15.17,6.325,-14.67), (-4.925,-14.06,-3.925,-13.56), (-4.925,-14.06,4.925,-13.56), (-4.675,-14.06,-4.175,-13.56), (0.975,-14.06,1.975,-13.56), (1.225,-14.06,1.725,-13.56), (4.925,-14.06,6.325,-13.56), (5.825,-14.06,6.325,-13.56), (-6.855,-6.88,-6.355,-6.38), (-6.855,-6.88,-5.455,-6.38), (-5.455,-6.88,-4.955,-6.38), (-5.455,-6.88,-3.395,-6.38), (-5.455,-6.88,5.455,-6.38), (0.445,-6.88,0.945,-6.38), (0.445,-6.88,2.505,-6.38), (-5.455,-6.08,-3.395,-5.58), (-5.455,-6.08,5.455,-5.58), (-3.895,-6.08,-3.395,-5.58), (0.445,-6.08,2.505,-5.58), (2.005,-6.08,2.505,-5.58), (5.455,-6.08,6.325,-5.58), (5.825,-6.08,6.325,-5.58), (5.825,-6.08,6.325,-5.58), (-6.855,-4.73,-6.355,-4.23), (-6.855,-4.73,-5.455,-4.23), (-5.455,-4.73,5.455,-4.23), (-2.505,-4.73,-2.005,-4.23), (-2.505,-4.73,-0.445,-4.23), (3.395,-4.73,3.895,-4.23), (3.395,-4.73,5.455,-4.23), (-6.56,-3.93,-5.455,-3.43), (-6.56,-3.93,-6.06,2.27), (-5.455,-3.93,5.455,-3.43), (-2.505,-3.93,-0.445,-3.43), (-0.945,-3.93,-0.445,-3.43), (3.395,-3.93,5.455,-3.43), (4.955,-3.93,5.455,-3.43), (5.455,-3.93,6.56,-3.43), (6.06,-3.93,6.56,2.27), (-7.66,-0.93,-7.16,-0.43), (-7.66,-0.93,-7.16,-0.43), (-7.66,-0.93,-7.16,13.03), (1.56,-0.93,2.06,-0.43), (1.56,-0.43,2.06,0.97), (7.16,-0.13,7.66,0.37), (7.16,-0.13,7.66,0.37), (7.16,-0.13,7.66,13.03), (-2.06,0.17,-1.56,0.67), (-2.06,0.67,-1.56,0.97), (-2.06,0.97,-1.56,1.47), (1.56,0.97,2.06,1.47), (-6.56,2.27,-6.06,2.77), (-6.56,2.27,-6.06,2.77), (-6.56,2.27,-6.06,12.23), (6.06,2.27,6.56,2.77), (6.06,2.27,6.56,2.77), (6.06,2.27,6.56,12.23), (-9.26,5.795,-8.76,6.295), (-9.26,5.795,-8.76,6.295), (-9.26,5.795,-8.76,16.27), (8.76,5.795,9.26,6.295), (8.76,5.795,9.26,6.295), (8.76,5.795,9.26,15.47), (-8.46,8.205,-7.96,8.705), (-8.46,8.205,-7.96,8.705), (-8.46,8.205,-7.96,15.47), (7.96,8.205,8.46,8.705), (7.96,8.205,8.46,8.705), (7.96,8.205,8.46,16.27), (-6.56,11.73,-6.06,12.23), (-6.56,11.73,-6.06,12.23), (6.06,11.73,6.56,12.23), (6.06,11.73,6.56,12.23), (-7.66,12.53,-7.16,13.03), (-7.66,12.53,-7.16,13.03), (-2.46,12.53,-1.96,13.03), (-1.66,12.53,-1.16,13.03), (1.16,12.53,1.66,13.03), (1.96,12.53,2.46,13.03), (7.16,12.53,7.66,13.03), (7.16,12.53,7.66,13.03), (-8.46,14.97,-7.96,15.47), (-8.46,14.97,-7.96,15.47), (8.76,14.97,9.26,15.47), (8.76,14.97,9.26,15.47), (-9.26,15.77,-8.76,16.27), (-9.26,15.77,-8.76,16.27), (7.96,15.77,8.46,16.27), (7.96,15.77,8.46,16.27), (-9.275,18.69,-8.775,19.19), (-9.275,18.69,-8.775,19.19), (-9.275,18.69,-8.775,20.29), (-9.275,19.79,-8.775,20.29), (-9.275,19.79,-8.775,20.29), (-9.275,20.29,-8.775,30.64), (9.305,29.34,9.805,29.84), (9.305,29.34,9.805,29.84), (9.305,29.34,9.805,31.99), (-9.275,30.14,-8.775,30.64), (-9.275,30.14,-8.775,30.64), (-2.06,30.14,-1.56,30.64), (9.305,31.49,9.805,31.99), (9.305,31.49,9.805,31.99), (9.305,31.99,9.805,33.3), (1.56,32.29,2.06,32.79), (9.305,33.3,9.805,33.8)])
P(ota5t, metal3, [(9.26,5.795),(9.26,5.795),(9.26,6.295),(9.26,6.295)],
  [(9.26,14.97),(9.26,14.97),(9.26,15.47),(9.26,15.47)],
  [(-8.76,5.795),(-8.76,5.795),(-8.76,6.295),(-8.76,6.295)],
  [(-8.76,15.77),(-8.76,15.77),(-8.76,16.27),(-8.76,16.27)],
  [(8.46,8.205),(8.46,8.205),(8.46,8.705),(8.46,8.705)],
  [(8.46,15.77),(8.46,15.77),(8.46,16.27),(8.46,16.27)],
  [(-7.96,8.205),(-7.96,8.205),(-7.96,8.705),(-7.96,8.705)],
  [(-7.96,14.97),(-7.96,14.97),(-7.96,15.47),(-7.96,15.47)],
  [(-7.16,-0.93),(-7.16,-0.93),(-7.16,-0.43),(-7.16,-0.43)],
  [(-7.16,12.53),(-7.16,12.53),(-7.16,13.03),(-7.16,13.03)],
  [(7.66,-0.13),(7.66,-0.13),(7.66,0.37),(7.66,0.37)],
  [(7.66,12.53),(7.66,12.53),(7.66,13.03),(7.66,13.03)],
  [(-6.06,2.27),(-6.06,2.27),(-6.06,2.77),(-6.06,2.77)],
  [(-6.06,11.73),(-6.06,11.73),(-6.06,12.23),(-6.06,12.23)],
  [(6.56,2.27),(6.56,2.27),(6.56,2.77),(6.56,2.77)],
  [(6.56,11.73),(6.56,11.73),(6.56,12.23),(6.56,12.23)],
  [(9.805,29.34),(9.805,29.34),(9.805,29.84),(9.805,29.84)],
  [(9.805,31.49),(9.805,31.49),(9.805,31.99),(9.805,31.99)],
  [(-8.775,18.69),(-8.775,18.69),(-8.775,19.19),(-8.775,19.19)],
  [(-8.775,19.79),(-8.775,19.79),(-8.775,20.29),(-8.775,20.29)])
R(ota5t, metal3_pin, [(5.185,-5.965,5.455,-5.695), (5.185,-5.965,5.455,-5.695)])
R(ota5t, metal4, [(5.825,-15.17,6.325,-14.67), (5.825,-15.17,6.325,-14.67), (5.825,-15.17,6.325,-13.56), (5.825,-14.06,6.325,-13.56), (5.825,-14.06,6.325,-13.56), (5.825,-13.56,6.325,-5.58), (-6.855,-6.88,-6.355,-6.38), (-6.855,-6.88,-6.355,-6.38), (-6.855,-6.88,-6.355,-4.23), (5.825,-6.08,6.325,-5.58), (5.825,-6.08,6.325,-5.58), (-6.855,-4.73,-6.355,-4.23), (-6.855,-4.73,-6.355,-4.23), (-3.12,12.53,-0.5,13.03), (-2.92,12.53,-0.7,13.03), (-2.46,12.53,-1.96,13.03), (-1.66,12.53,-1.16,13.03), (0.5,12.53,3.12,13.03), (0.7,12.53,2.92,13.03), (1.16,12.53,1.66,13.03), (1.96,12.53,2.46,13.03), (-2.21,12.78,-1.41,30.39), (1.41,12.78,2.21,32.54), (-2.21,30.14,-1.41,30.64), (-2.06,30.14,-1.56,30.64), (1.41,32.29,2.21,32.79), (1.56,32.29,2.06,32.79)])
P(ota5t, metal4, [(6.325,-15.17),(6.325,-15.17),(6.325,-14.67),(6.325,-14.67)],
  [(6.325,-14.06),(6.325,-14.06),(6.325,-13.56),(6.325,-13.56)],
  [(-6.355,-6.88),(-6.355,-6.88),(-6.355,-6.38),(-6.355,-6.38)],
  [(-6.355,-4.73),(-6.355,-4.73),(-6.355,-4.23),(-6.355,-4.23)])
R(ota5t, metal4_pin, [(-6.74,-6.88,-6.47,-6.61), (-6.74,-6.88,-6.47,-6.61)])
R(ota5t, lvpwell, [(-9.875,-16.27,9.875,-2.33), (-9.26,-0.93,9.26,16.27), (-6.06,1.35,-0.08,6.415), (0.08,1.35,6.06,6.415), (-6.06,8.085,-0.08,13.15), (0.08,8.085,6.06,13.15)])
ota5t.add(gdstk.Label('B', (0,14.235), layer=34, texttype=10))
ota5t.add(gdstk.Label('VSS', (-6.605,-6.745), layer=46, texttype=10))
ota5t.add(gdstk.Label('IBIAS', (5.32,-5.83), layer=42, texttype=10))
ota5t.add(gdstk.Label('VN', (-1.81,6.16), layer=36, texttype=10))
ota5t.add(gdstk.Label('VP', (1.81,6.16), layer=36, texttype=10))
ota5t.add(gdstk.Label('VDD', (0,33.435), layer=36, texttype=10))
ota5t.add(gdstk.Label('B', (0,14.235), layer=34, texttype=10))
ota5t.add(gdstk.Label('VSS', (-6.605,-6.745), layer=46, texttype=10))
ota5t.add(gdstk.Label('IBIAS', (5.32,-5.83), layer=42, texttype=10))
ota5t.add(gdstk.Label('OUT', (8.27,32.54), layer=36, texttype=10))
ota5t.add(gdstk.Label('VN', (-1.81,6.16), layer=36, texttype=10))
ota5t.add(gdstk.Label('VP', (1.81,6.16), layer=36, texttype=10))

lib.write_gds('ota5t.gds')
